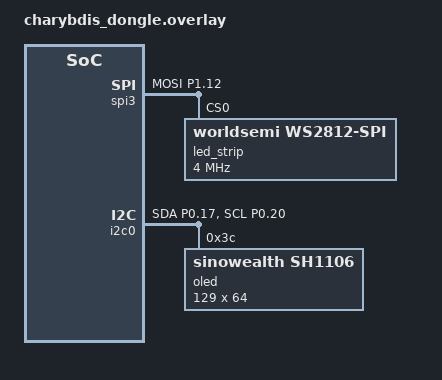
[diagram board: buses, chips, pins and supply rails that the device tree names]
/*
*
* Copyright (c) 2021 Darryl deHaan
* SPDX-License-Identifier: MIT
*
*/

#include "charybdis.dtsi"

/delete-node/ &kscan0;

/{
    chosen {
        zmk,kscan = &mock_kscan;
        zephyr,display = &oled;
    };
    mock_kscan: kscan_1 {
        compatible = "zmk,kscan-mock";
        columns = <0>;
        rows = <0>;
        events = <0>;
    };
};


&pinctrl {
    i2c0_default: i2c0_default {
        group1 {
            psels = <NRF_PSEL(TWIM_SDA, 0, 17)>,
                <NRF_PSEL(TWIM_SCL, 0, 20)>;
        };
    };

    i2c0_sleep: i2c0_sleep {
        group1 {
            psels = <NRF_PSEL(TWIM_SDA, 0,17)>,
                <NRF_PSEL(TWIM_SCL, 0, 20)>;
            low-power-enable;
        };
    };	
    
    spi0_default: spi0_default {
        group1 {
            psels = <NRF_PSEL(SPIM_SCK, 0, 20)>,
                <NRF_PSEL(SPIM_MOSI, 0, 17)>,
                <NRF_PSEL(SPIM_MISO, 0, 25)>;
        };
    };

    spi0_sleep: spi0_sleep {
        group1 {
            psels = <NRF_PSEL(SPIM_SCK, 0, 20)>,
                <NRF_PSEL(SPIM_MOSI, 0, 17)>,
                <NRF_PSEL(SPIM_MISO, 0, 25)>;
            low-power-enable;
        };
    };

    spi3_default: spi3_default {
        group1 {
            psels = <NRF_PSEL(SPIM_MOSI, 1, 12)>; // WS2812_VEXT_DATA
        };
    };

    spi3_sleep: spi3_sleep {
        group1 {
            psels = <NRF_PSEL(SPIM_MOSI, 1, 12)>;
            low-power-enable;
        };
    };
    pwm0_default: pwm0_default {
        group1 {
            psels = <NRF_PSEL(PWM_OUT0, 1, 13)>;
        };
    };
    pwm0_sleep: pwm0_sleep {
        group1 {
            psels = <NRF_PSEL(PWM_OUT0, 1, 13)>;
            low-power-enable;
        };
    };
}; 
&spi3 {
    compatible = "nordic,nrf-spim";
    status = "okay";

    pinctrl-0 = <&spi3_default>;
    pinctrl-1 = <&spi3_sleep>;
    pinctrl-names = "default", "sleep";

    led_strip: ws2812@0 {
        compatible = "worldsemi,ws2812-spi";

        /* SPI */
        reg = <0>; /* ignored, but necessary for SPI bindings */
        spi-max-frequency = <4000000>;

        /* WS2812 */
        chain-length = <7>; /* 6 keys have underglow at the moment */
        spi-one-frame = <0x70>;
        spi-zero-frame = <0x40>;

        color-mapping = <LED_COLOR_ID_GREEN LED_COLOR_ID_RED LED_COLOR_ID_BLUE>;
    };
};
&i2c0 {
	status = "okay";
	compatible = "nordic,nrf-twi";
    pinctrl-0 = <&i2c0_default>;
    pinctrl-1 = <&i2c0_sleep>;
	oled: sh1106@3c {
        compatible = "sinowealth,sh1106";
        reg = <0x3c>;
        width = <129>;
        height = <64>;
        segment-offset = <1>;
        page-offset = <0>;
        display-offset = <0>;
        multiplex-ratio = <63>;
        segment-remap;
        com-invdir;
        inversion-on;
        prechargep = <0x22>;
	};
};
